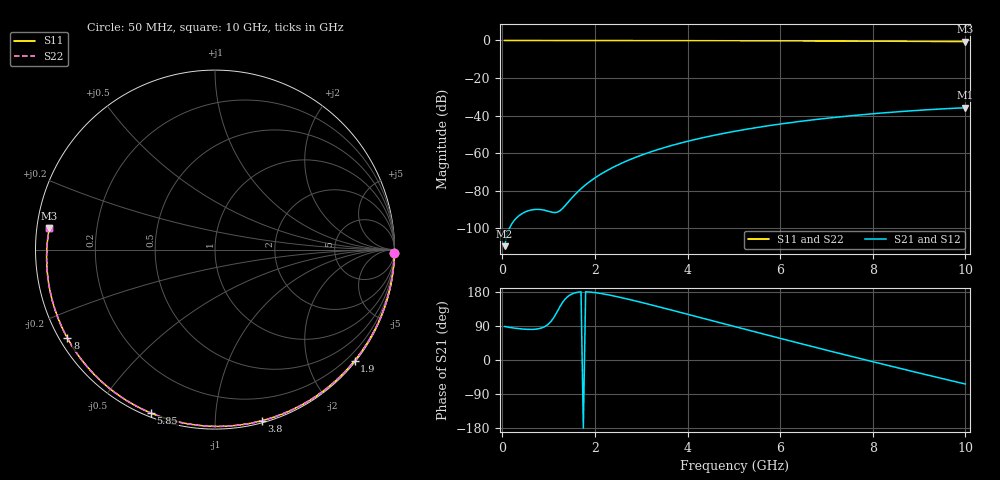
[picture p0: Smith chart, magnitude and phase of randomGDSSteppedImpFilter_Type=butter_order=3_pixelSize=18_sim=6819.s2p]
! freq	dB(S11)	phase(S11)	dB(S12)	phase(S12)
!  dB(S21)	phase(S21)	dB(S22)	phase(S22)
!S-par simulation data
#  GHz  S  DB  R 50
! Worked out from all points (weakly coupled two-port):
!   200 points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, 50 MHz to 10 GHz, reference 50 ohm
!   highest |S21| = -35.78 dB at 10 GHz (marker M1); lowest = -109.4 dB at 50 MHz (marker M2)
!   lowest |S11| = -0.6 dB at 10 GHz (marker M3), VSWR 28.09, Z = 1.79 + j3.26 ohm
!   |S11| at or under -10 dB: nowhere
!   |S22| runs from -0.6 to 0.0 dB; largest |S21 - S12| = 0
!   S11 on the Smith chart (normalised r, x): 50 MHz: open; 1.9 GHz: 0.03, -2.86; 3.8 GHz: 0.02, -1.31; 5.85 GHz: 0.02, -0.68; 8 GHz: 0.02, -0.28; 10 GHz: 0.04, +0.07
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0.05  -0.00 -1.0  -109.40 88.5  -109.40 88.5  -0.00 -1.0
0.4  -0.01 -8.3  -92.50 82.1  -92.50 82.1  -0.01 -8.3
0.8  -0.02 -16.4  -89.87 83.0  -89.87 83.0  -0.02 -16.4
1.2  -0.03 -24.5  -91.19 130.7  -91.19 130.7  -0.03 -24.5
1.65  -0.04 -33.5  -79.98 179.2  -79.98 179.2  -0.04 -33.5
1.75  -0.04 -35.5  -77.76 -180.0  -77.76 -180.0  -0.04 -35.5
1.9  -0.05 -38.5  -74.84 179.3  -74.84 179.3  -0.05 -38.5
2.2  -0.06 -44.4  -70.03 174.0  -70.03 174.0  -0.06 -44.4
2.55  -0.07 -51.2  -65.59 165.2  -65.59 165.2  -0.07 -51.2
2.95  -0.08 -58.9  -61.49 153.6  -61.49 153.6  -0.08 -58.9
3.4  -0.09 -67.4  -57.72 139.8  -57.72 139.8  -0.09 -67.4
3.8  -0.10 -74.8  -54.89 127.1  -54.89 127.1  -0.10 -74.8
4.4  -0.12 -85.7  -51.34 108.0  -51.34 108.0  -0.12 -85.8
5.05  -0.15 -97.4  -48.17 87.2  -48.17 87.2  -0.15 -97.4
5.85  -0.19 -111.4  -44.98 61.8  -44.98 61.8  -0.19 -111.4
6.7  -0.25 -126.1  -42.23 35.3  -42.23 35.3  -0.25 -126.2
7.35  -0.30 -137.5  -40.48 15.3  -40.48 15.3  -0.30 -137.5
8  -0.36 -149.0  -38.99 -4.5  -38.99 -4.5  -0.36 -149.1
8.35  -0.40 -155.3  -38.28 -15.0  -38.28 -15.0  -0.40 -155.4
9.2  -0.50 -171.3  -36.82 -40.2  -36.82 -40.2  -0.50 -171.4
9.6  -0.56 -179.2  -36.26 -51.9  -36.26 -51.9  -0.56 -179.3
10  -0.62 172.5  -35.78 -63.4  -35.78 -63.4  -0.62 172.4
